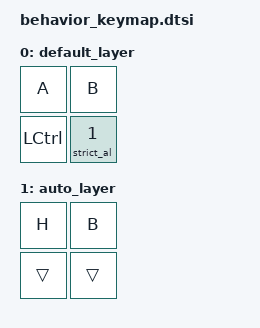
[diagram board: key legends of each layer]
#include <dt-bindings/zmk/keys.h>
#include <behaviors.dtsi>
#include <dt-bindings/zmk/kscan_mock.h>

/ {
    behaviors {
        strict_al: strict_al {
            compatible = "zmk,behavior-auto-layer";
            #binding-cells = <1>;
            continue-list = <BSPC LC(B)>;
            strict-modifiers;
        };
    };

    keymap {
        compatible = "zmk,keymap";
        default_layer {
            bindings = <
                &kp A     &kp B
                &kp LCTRL &strict_al 1
            >;
        };

        auto_layer {
            bindings = <
                &kp H   &kp B
                &trans   &trans
            >;
        };
    };
};
